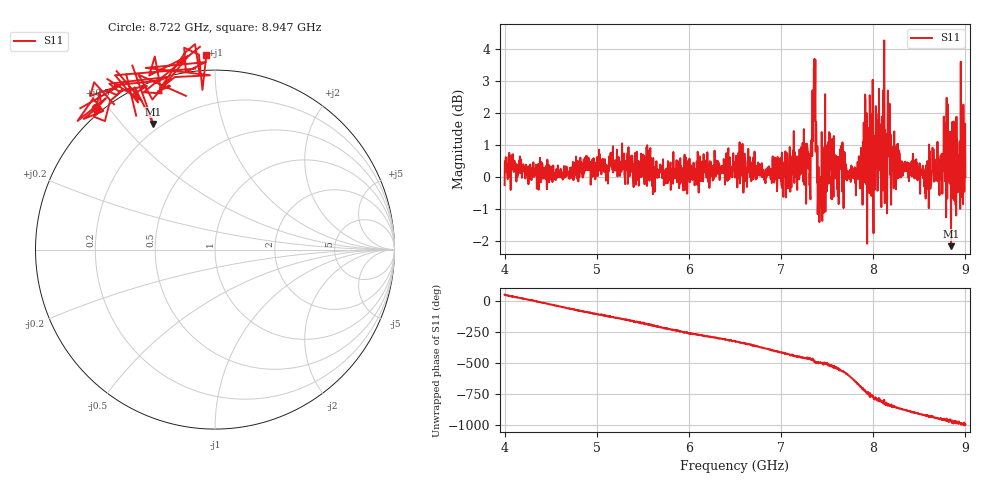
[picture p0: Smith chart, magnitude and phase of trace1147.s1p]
! Created with skrf 1.8.0 (http://scikit-rf.org).
# Hz S RI R 50.0
!freq ReS11 ImS11
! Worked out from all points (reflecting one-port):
!   1601 points, 4 GHz to 9 GHz, reference 50 ohm
!   lowest |S11| = -2.2 dB at 8.844 GHz (marker M1), VSWR 8.11, Z = 8.51 + j30.5 ohm
!   phase of S11 starts at 54 deg and turns -1048 deg over the sweep
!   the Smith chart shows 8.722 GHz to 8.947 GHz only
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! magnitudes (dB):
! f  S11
! 4 GHz  -0.2
! 4.094 GHz  0.3
! 4.625 GHz  0.0
! 5.25 GHz  0.0
! 5.875 GHz  0.0
! 6.5 GHz  0.4
! 7.125 GHz  0.2
! 7.294 GHz  0.3
! 7.319 GHz  -0.7
! 7.359 GHz  2.4
! 7.381 GHz  1.7
! 7.4 GHz  -0.7
! 7.422 GHz  -0.8
! 7.509 GHz  0.5
! 7.75 GHz  0.1
! 7.859 GHz  0.7
! 7.969 GHz  1.4
! 7.997 GHz  -0.1
! 8.097 GHz  0.2
! 8.181 GHz  1.1
! 8.216 GHz  1.0
! 8.375 GHz  0.2
! 8.728 GHz  -0.1
! 8.788 GHz  0.8
! 8.844 GHz  -2.2
! 8.919 GHz  -0.1
! 8.972 GHz  0.6
! 9 GHz  0.0
